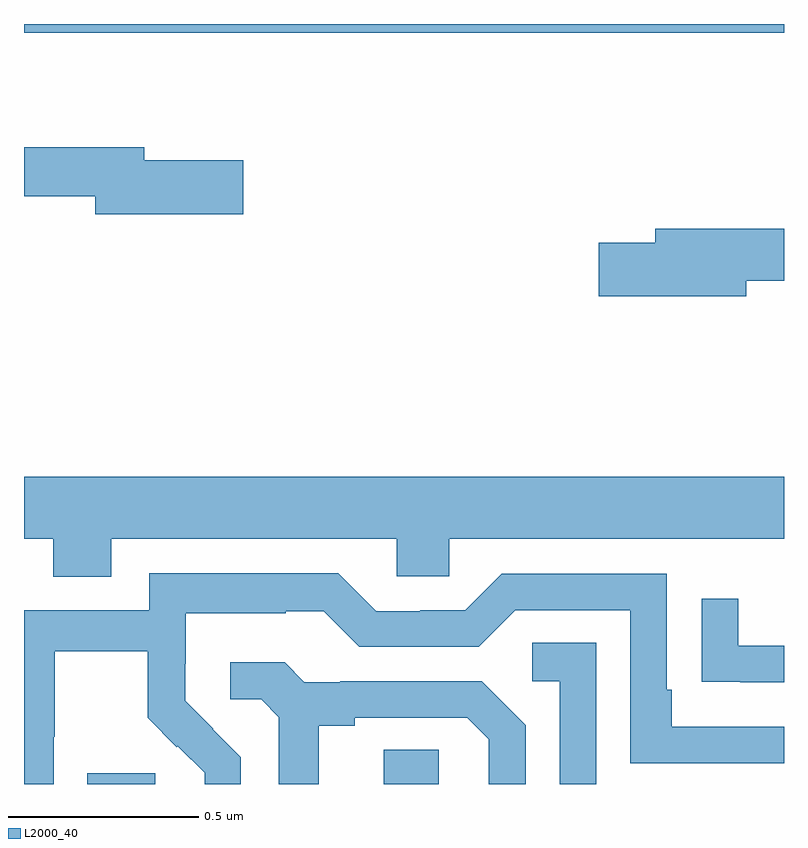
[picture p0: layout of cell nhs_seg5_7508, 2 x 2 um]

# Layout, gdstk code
import gdstk
lib = gdstk.Library(unit=1e-6, precision=1e-09)
def R(c, l, rs):  # rectangles x0, y0, x1, y1
    for r in rs: c.add(gdstk.rectangle(r[:2], r[2:], *l))
def P(c, l, *ps):  # polygons
    for p in ps: c.add(gdstk.Polygon(p, *l))
L2000_40 = (2000, 40)

nhs_seg5_7508 = lib.new_cell('nhs_seg5_7508')
R(nhs_seg5_7508, L2000_40, [(210.167,838.799,210.346,838.827), (210.947,838.799,211.092,838.889), (210,840.776,212,840.799)])
P(nhs_seg5_7508, L2000_40, [(210.577,840.441),(210.316,840.441),(210.316,840.475),(210,840.475),(210,840.346),(210.188,840.346),(210.188,840.299),(210.577,840.299)],
  [(211.9,840.124),(212,840.124),(212,840.26),(211.661,840.26),(211.661,840.224),(211.512,840.224),(211.512,840.082),(211.9,840.082)],
  [(210.229,839.444),(210.981,839.444),(210.981,839.346),(211.119,839.346),(211.119,839.444),(212,839.444),(212,839.608),(210,839.608),(210,839.444),(210.077,839.444),(210.077,839.345),(210.229,839.345)],
  [(210.078,838.924),(210.081,838.924),(210.081,839.148),(210.325,839.148),(210.325,838.973),(210.402,838.896),(210.405,838.899),(210.476,838.829),(210.476,838.799),(210.57,838.799),(210.57,838.87),(210.497,838.943),(210.498,838.944),(210.424,839.018),(210.424,839.115),(210.426,839.115),(210.426,839.249),(210.689,839.249),(210.689,839.253),(210.789,839.253),(210.882,839.16),(211.197,839.16),(211.293,839.256),(211.596,839.256),(211.596,838.854),(212,838.854),(212,838.95),(211.705,838.95),(211.705,839.047),(211.692,839.047),(211.692,839.352),(211.257,839.352),(211.161,839.256),(211.043,839.256),(211.043,839.253),(210.927,839.253),(210.827,839.353),(210.33,839.353),(210.33,839.256),(210,839.256),(210,838.799),(210.078,838.799)],
  [(212,839.163),(211.879,839.163),(211.879,839.287),(211.783,839.287),(211.783,839.068),(211.885,839.068),(211.885,839.067),(212,839.067)],
  [(211.506,839.171),(211.338,839.171),(211.338,839.07),(211.41,839.07),(211.41,838.799),(211.506,838.799)],
  [(210.775,838.952),(210.871,838.952),(210.871,838.974),(211.166,838.974),(211.223,838.917),(211.223,838.799),(211.32,838.799),(211.32,838.954),(211.204,839.07),(210.832,839.07),(210.832,839.067),(210.738,839.067),(210.686,839.119),(210.543,839.119),(210.543,839.022),(210.624,839.022),(210.671,838.975),(210.671,838.799),(210.775,838.799)])

lib.write_gds('nhs_seg5_7508.gds')
